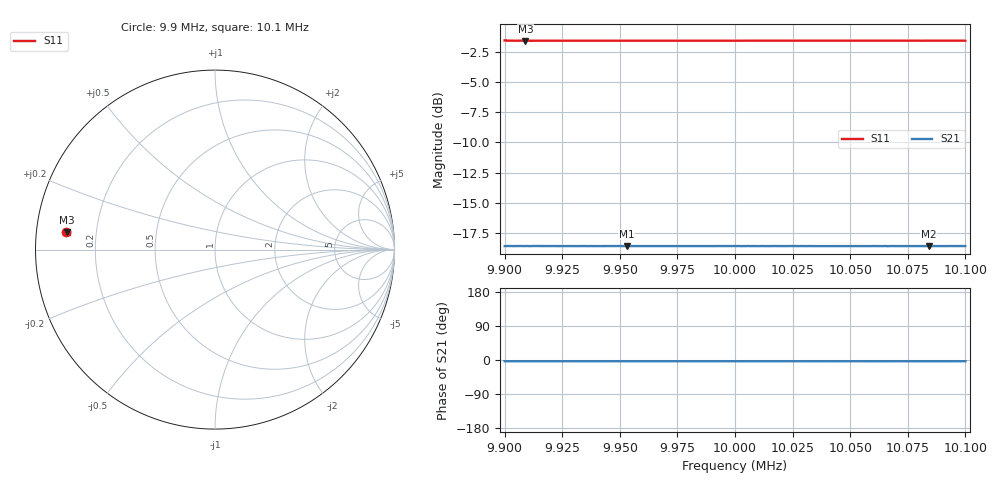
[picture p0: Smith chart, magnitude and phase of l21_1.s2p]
! NanoVNA-App
! Date: 2026-10-13 22:06:50
! Start: 9,9MHz Stop: 10,1MHz Points: 401
! S-Parameter data: F S11 S21 S12 S22
# Hz S RI R 50
!  Frequency  S11_Real  S11_Imag  S21_Real  S21_Imag  S12_Real  S12_Imag  S22_Real  S22_Imag
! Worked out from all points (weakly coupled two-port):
!   401 points, 9.9 MHz to 10.1 MHz, reference 50 ohm
!   highest |S21| = -18.56 dB at 9.953 MHz (marker M1); lowest = -18.6 dB at 10.084 MHz (marker M2)
!   lowest |S11| = -1.6 dB at 9.909 MHz (marker M3), VSWR 10.78, Z = 4.66 + j2.88 ohm
!   |S11| at or under -10 dB: nowhere
!   S12 and S22 are empty: the file has one direction only
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9900000  -0.8276 0.0969  0.1177 -0.00655  0 0  0 0
9902500  -0.8277 0.0969  0.1178 -0.00648  0 0  0 0
9904000  -0.8264 0.0965  0.1178 -0.00657  0 0  0 0
9905000  -0.8259 0.0965  0.1178 -0.00656  0 0  0 0
9907000  -0.826 0.0964  0.1179 -0.00654  0 0  0 0
9909000  -0.8246 0.096  0.1179 -0.00656  0 0  0 0
9910000  -0.8263 0.0965  0.1179 -0.00655  0 0  0 0
9912000  -0.8254 0.0964  0.1179 -0.00652  0 0  0 0
9915500  -0.8259 0.0966  0.1178 -0.00654  0 0  0 0
9918000  -0.8257 0.0964  0.1177 -0.00658  0 0  0 0
9922000  -0.8257 0.0965  0.1178 -0.00656  0 0  0 0
9933500  -0.8256 0.0966  0.1178 -0.00657  0 0  0 0
9953000  -0.8255 0.0967  0.1179 -0.00655  0 0  0 0
9967000  -0.8257 0.0969  0.1178 -0.00656  0 0  0 0
1e7  -0.8258 0.0973  0.1178 -0.00649  0 0  0 0
1.00065e7  -0.8259 0.0975  0.1178 -0.00667  0 0  0 0
1.00095e7  -0.826 0.0975  0.1177 -0.00656  0 0  0 0
1.0013e7  -0.8259 0.0975  0.1178 -0.00662  0 0  0 0
1.00335e7  -0.8259 0.0977  0.1178 -0.0066  0 0  0 0
1.0067e7  -0.826 0.0979  0.1178 -0.00665  0 0  0 0
1.0084e7  -0.8259 0.0981  0.1177 -0.00668  0 0  0 0
1.01e7  -0.8259 0.0983  0.1178 -0.00662  0 0  0 0
